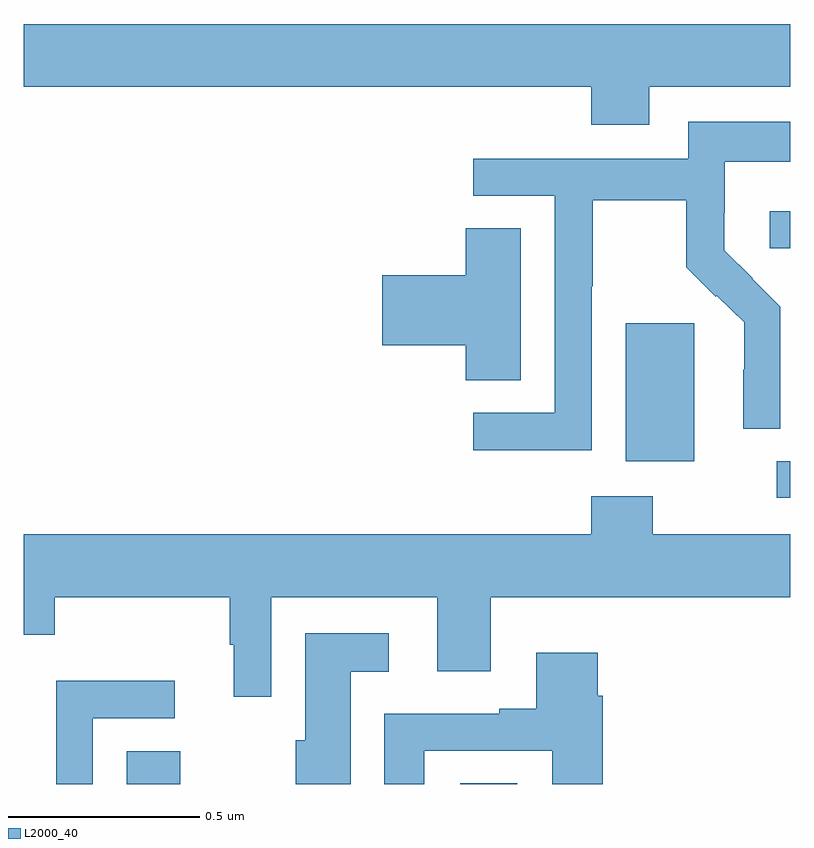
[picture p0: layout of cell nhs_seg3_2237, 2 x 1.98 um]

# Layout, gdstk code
import gdstk
lib = gdstk.Library(unit=1e-6, precision=1e-09)
def R(c, l, rs):  # rectangles x0, y0, x1, y1
    for r in rs: c.add(gdstk.rectangle(r[:2], r[2:], *l))
def P(c, l, *ps):  # polygons
    for p in ps: c.add(gdstk.Polygon(p, *l))
L2000_40 = (2000, 40)

nhs_seg3_2237 = lib.new_cell('nhs_seg3_2237')
R(nhs_seg3_2237, L2000_40, [(138.269,728.4,138.408,728.486), (139.139,728.4,139.288,728.402), (139.965,729.147,140,729.243), (139.571,729.242,139.75,729.603), (139.947,729.798,140,729.895)])
P(nhs_seg3_2237, L2000_40, [(139.633,730.22),(140,730.22),(140,730.384),(138,730.384),(138,730.22),(139.481,730.22),(139.481,730.121),(139.633,730.121)],
  [(139.482,729.7),(139.485,729.7),(139.485,729.924),(139.729,729.924),(139.729,729.749),(139.806,729.672),(139.809,729.675),(139.88,729.605),(139.88,729.482),(139.878,729.482),(139.878,729.328),(139.974,729.328),(139.974,729.646),(139.901,729.719),(139.902,729.72),(139.828,729.794),(139.828,729.891),(139.83,729.891),(139.83,730.025),(140,730.025),(140,730.129),(139.734,730.129),(139.734,730.032),(139.173,730.032),(139.173,729.936),(139.386,729.936),(139.386,729.369),(139.173,729.369),(139.173,729.271),(139.482,729.271)],
  [(139.297,729.851),(139.154,729.851),(139.154,729.728),(138.936,729.728),(138.936,729.545),(139.154,729.545),(139.154,729.454),(139.297,729.454)],
  [(138.645,728.888),(139.079,728.888),(139.079,728.694),(139.219,728.694),(139.219,728.888),(140,728.888),(140,729.052),(139.641,729.052),(139.641,729.151),(139.481,729.151),(139.481,729.052),(138,729.052),(138,728.789),(138.081,728.789),(138.081,728.888),(138.537,728.888),(138.537,728.764),(138.548,728.764),(138.548,728.628),(138.645,728.628)],
  [(138.853,728.693),(138.952,728.693),(138.952,728.794),(138.734,728.794),(138.734,728.514),(138.709,728.514),(138.709,728.4),(138.853,728.4)],
  [(139.045,728.487),(139.379,728.487),(139.379,728.4),(139.511,728.4),(139.511,728.63),(139.498,728.63),(139.498,728.743),(139.337,728.743),(139.337,728.596),(139.241,728.596),(139.241,728.583),(138.941,728.583),(138.941,728.4),(139.045,728.4)],
  [(138.18,728.571),(138.394,728.571),(138.394,728.67),(138.084,728.67),(138.084,728.4),(138.18,728.4)])

lib.write_gds('nhs_seg3_2237.gds')
